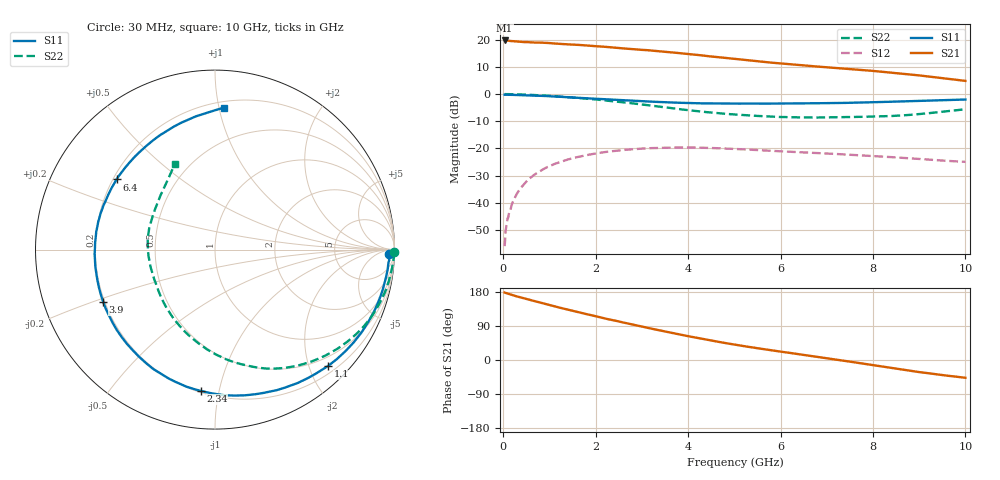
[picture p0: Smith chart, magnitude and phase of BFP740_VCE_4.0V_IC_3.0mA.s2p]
! Infineon Technologies  Discrete & RF Semiconductors
! BFP740
! VCE =  4.0 V,  IC =  3.0 mA
! Common Emitter S-Parameters:  Jan 2016
# GHz  S  MA  R  50
!  f  S11  S21  S12  S22
! GHz  MAG  ANG  MAG  ANG  MAG  ANG  MAG  ANG
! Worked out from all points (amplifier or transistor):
!   229 points, 30 MHz to 10 GHz, reference 50 ohm
!   highest |S21| = 19.7 dB at 30 MHz (marker M1)
!   |S21| within 3 dB of that: start of sweep to 2.655 GHz
!   unconditionally stable (mu >= 1): 8.236 GHz to end of sweep
!   at 280 MHz: K = 0.11, MSG = 28.2 dB, |S12| = -37.1 dB
!   at 1.78 GHz: K = 0.19, MSG = 20.2 dB, |S12| = -22.5 dB
!   at 10 GHz: K = 1.23, MAG = 12.0 dB, |S12| = -24.9 dB
!   S11 on the Smith chart (normalised r, x): 30 MHz: 43, -35; 1.1 GHz: 0.33, -2.32; 2.34 GHz: 0.21, -0.88; 3.9 GHz: 0.19, -0.21; 6.4 GHz: 0.21, +0.31; 10 GHz: 0.24, +1.04
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0.03  0.9724 -1.3  9.659 177.9  0.0016 61.8  0.997 -0.9
0.04  0.9722 -1.7  9.498 177.4  0.002 73.3  0.9974 -1.2
0.05  0.9747 -2.2  9.637 177.3  0.003 76.9  0.9956 -1.5
0.09  0.9702 -4.0  9.534 175.4  0.0051 76.9  0.9971 -2.7
0.11  0.9687 -4.8  9.597 174.5  0.0054 84.0  0.9964 -3.3
0.3  0.9619 -12.8  9.213 167.6  0.015 79.0  0.9862 -8.7
0.8  0.9299 -33.7  8.826 151.5  0.0384 66.5  0.9501 -22.7
1.1  0.9039 -45.9  8.494 142.0  0.0515 58.2  0.916 -31.1
1.34  0.8794 -55.7  8.247 134.6  0.0605 52.0  0.8858 -37.4
1.7  0.8449 -70.5  7.938 123.9  0.0725 43.3  0.837 -46.6
2.2  0.8031 -90.5  7.389 109.6  0.0859 31.4  0.7652 -59.5
2.34  0.7912 -95.8  7.208 105.9  0.0888 28.2  0.7439 -63.0
2.8  0.7548 -113.7  6.712 93.5  0.0968 18.5  0.6736 -74.0
3.4  0.7128 -136.8  6.085 77.8  0.1028 6.5  0.5839 -89.6
3.9  0.6877 -155.0  5.548 65.4  0.1042 -2.8  0.5166 -102.8
4.4  0.6733 -172.0  5.023 53.6  0.1026 -11.1  0.4655 -115.7
5.1  0.6679 168.8  4.347 38.7  0.0972 -20.8  0.4166 -131.9
6.4  0.6736 144.5  3.411 15.2  0.0856 -32.8  0.372 -160.9
6.8  0.6777 137.5  3.2 8.2  0.0824 -35.9  0.3704 -170.4
8.4  0.7228 108.4  2.478 -20.9  0.0693 -45.2  0.395 151.1
9  0.7497 98.3  2.201 -31.9  0.0643 -47.0  0.4286 135.0
10  0.793 86.3  1.746 -47.0  0.0567 -46.4  0.5252 115.4
